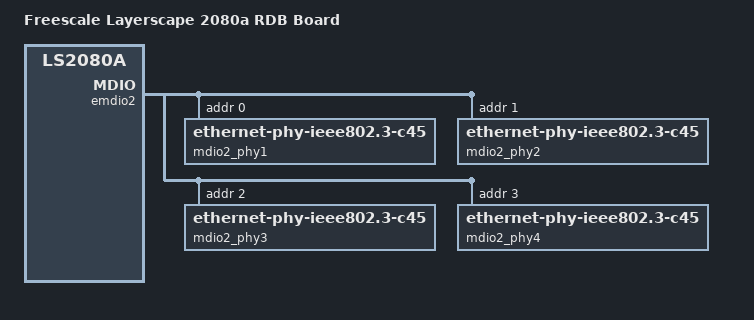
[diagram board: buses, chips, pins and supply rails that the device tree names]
// SPDX-License-Identifier: (GPL-2.0+ OR MIT)
/*
 * Device Tree file for Freescale LS2080a RDB Board.
 *
 * Copyright 2016 Freescale Semiconductor, Inc.
 * Copyright 2017 NXP
 *
 * Abhimanyu Saini <abhimanyu.saini@nxp.com>
 * Bhupesh Sharma <bhupesh.sharma@freescale.com>
 *
 */

/dts-v1/;

#include "fsl-ls2080a.dtsi"
#include "fsl-ls208xa-rdb.dtsi"

/ {
	model = "Freescale Layerscape 2080a RDB Board";
	compatible = "fsl,ls2080a-rdb", "fsl,ls2080a";

	chosen {
		stdout-path = "serial1:115200n8";
	};
};

&dpmac5 {
	phy-handle = <&mdio2_phy1>;
	phy-connection-type = "10gbase-r";
};

&dpmac6 {
	phy-handle = <&mdio2_phy2>;
	phy-connection-type = "10gbase-r";
};

&dpmac7 {
	phy-handle = <&mdio2_phy3>;
	phy-connection-type = "10gbase-r";
};

&dpmac8 {
	phy-handle = <&mdio2_phy4>;
	phy-connection-type = "10gbase-r";
};

&emdio1 {
	status = "disabled";

	/* CS4340 PHYs */
	mdio1_phy1: emdio1_phy@1 {
		reg = <0x10>;
	};

	mdio1_phy2: emdio1_phy@2 {
		reg = <0x11>;
	};

	mdio1_phy3: emdio1_phy@3 {
		reg = <0x12>;
	};

	mdio1_phy4: emdio1_phy@4 {
		reg = <0x13>;
	};
};

&emdio2 {
	/* AQR405 PHYs */
	mdio2_phy1: emdio2_phy@1 {
		compatible = "ethernet-phy-ieee802.3-c45";
		interrupts = <0 1 0x4>; /* Level high type */
		reg = <0x0>;
	};

	mdio2_phy2: emdio2_phy@2 {
		compatible = "ethernet-phy-ieee802.3-c45";
		interrupts = <0 2 0x4>; /* Level high type */
		reg = <0x1>;
	};

	mdio2_phy3: emdio2_phy@3 {
		compatible = "ethernet-phy-ieee802.3-c45";
		interrupts = <0 4 0x4>; /* Level high type */
		reg = <0x2>;
	};

	mdio2_phy4: emdio2_phy@4 {
		compatible = "ethernet-phy-ieee802.3-c45";
		interrupts = <0 5 0x4>; /* Level high type */
		reg = <0x3>;
	};
};
